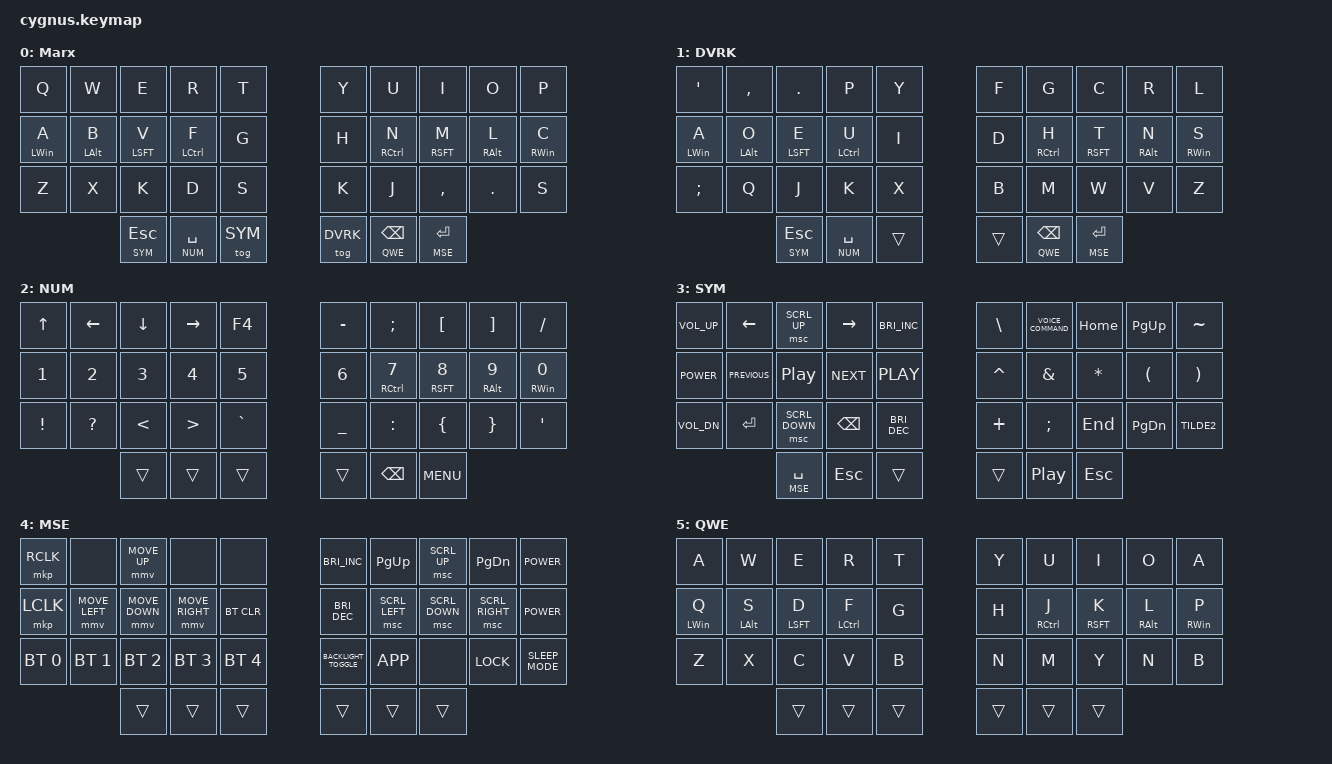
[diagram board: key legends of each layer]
/*
 * Copyright (c) 2020 The ZMK Contributors
 *
 * SPDX-License-Identifier: MIT
 */

#include <behaviors.dtsi>
#include <dt-bindings/zmk/bt.h>
#include <dt-bindings/zmk/keys.h>


#define DEFAULT 0
#define DVRK    1
#define NUM     2
#define SYM     3
#define MSE     4
#define QWE     5

&mt {
    tapping-term-ms = <200>;
    flavor = "tap-preferred";
};

&sk {
    release-after-ms = <2000>;
    quick-release;
};



/ {

	combos {
        compatible = "zmk,combos";

                combo_zoomin {
            timeout-ms = <50>;
            key-positions = <3 4>;
            bindings = <&kp TAB>;
        };
 
        combo_pgdn {
            timeout-ms = <50>;
            key-positions = <21 22>;
            bindings = <&kp PG_DN>;
        };

        combo_pgup {
            timeout-ms = <50>;
            key-positions = <20 21>;
            bindings = <&kp PG_UP>;
        };
    };
    behaviors {
        hm: homerow_mods {
            compatible = "zmk,behavior-hold-tap";
            label = "HOMEROW_MODS";
            #binding-cells = <2>;
            tapping-term-ms = <200>;
            quick_tap_ms = <0>;
            flavor = "tap-preferred";
            bindings =
                <&kp>,
                <&kp>;

            quick-tap-ms = <180>;
            global-quick-tap;
        };
        ltq: ltq {
            compatible = "zmk,behavior-hold-tap";
            label = "LTQ";
            #binding-cells = <2>;
            tapping-term-ms = <200>;
            quick_tap_ms = <0>;
            flavor = "hold-preferred";
            bindings =
                <&mo>,
                <&kp>;

            quick-tap-ms = <180>;
            global-quick-tap;
        };
    };

    keymap {
        compatible = "zmk,keymap";

default_layer {
            label = "Marx";
			bindings = <
        &kp Q     &kp W      &kp E      &kp R      &kp T         &kp Y    &kp U      &kp I      &kp O      &kp P
        &mt LWIN A &mt LALT B &mt LSFT V &mt LCTL F &kp G         &kp H    &mt RCTL N &mt RSFT M &mt RALT L &mt RWIN C 
        &kp Z     &kp X      &kp K      &kp D  &kp S         &kp K    &kp J  &kp COMMA &kp DOT &kp S
                &lt SYM ESC  &lt NUM SPACE       &tog SYM                   &tog DVRK  &lt QWE BSPC  &lt MSE RET
            >;
        };

		    	dvorak_layer {
            label = "DVRK";
			bindings = <
        &kp SINGLE_QUOTE     &kp COMMA   &kp DOT   &kp P   &kp Y         &kp F    &kp G     &kp C      &kp R      &kp L
        &mt LWIN A &mt LALT O &mt LSFT E &mt LCTL U &kp I         &kp D    &mt RCTL H &mt RSFT T &mt RALT N &mt RWIN S 
 	&kp SEMI    &kp Q      &kp J      &kp K  &kp X         &kp B    &kp M  &kp W &kp V &kp Z
           &lt SYM ESC  &lt NUM SPACE          &trans          &trans   &lt QWE BSPC  &lt MSE RET
            >;
        };

        number_layer {
            label = "NUM";
            bindings = <
                &kp UP  &kp LEFT  &kp DOWN   &kp RIGHT   &kp F4      &kp MINUS    &kp SEMI  &kp LEFT_BRACKET  &kp RIGHT_BRACKET  &kp SLASH
                &kp N1  &kp N2  &kp N3  &kp N4  &kp N5                &kp N6   &mt RCTL N7  &mt RSFT N8  &mt RALT N9  &mt RWIN N0
                &kp EXCLAMATION  &kp QUESTION  &kp LESS_THAN   &kp GREATER_THAN   &kp GRAVE     &kp UNDERSCORE   &kp COLON  &kp LEFT_BRACE  &kp RIGHT_BRACE  &kp SINGLE_QUOTE
        &trans          &trans          &trans          &trans  &kp BSPC   &kp K_MENU
            >;
        };	

        symbol_layer {
            label = "SYM";
            bindings = <
                 &kp C_VOL_UP    &kp LEFT       &msc SCRL_UP         &kp RIGHT   &kp C_BRIGHTNESS_INC      &kp BACKSLASH  &kp C_VOICE_COMMAND  &kp HOME  &kp PAGE_UP  &kp TILDE
                &kp C_POWER   &kp C_PREVIOUS &kp C_PLAY_PAUSE  &kp C_NEXT  &kp C_PLAY                 &kp CARET &kp AMPS &kp STAR &kp LPAR &kp RPAR
                &kp C_VOL_DN   &kp RET         &msc SCRL_DOWN          &kp BSPC    &kp C_BRIGHTNESS_DEC       &kp PLUS  &kp SEMICOLON   &kp END  &kp PAGE_DOWN  &kp TILDE2  
        &lt MSE SPACE  &kp ESC   &trans          &trans  &kp C_PLAY_PAUSE  &kp ESC
            >;
        };
        mouse_layer {
            label = "MSE";
            bindings = <
                 &mkp RCLK  &none   &mmv MOVE_UP   &none   &none          &kp C_BRIGHTNESS_INC  &kp PAGE_UP   &msc SCRL_UP  &kp PAGE_DOWN    &kp C_POWER
                &mkp LCLK  &mmv MOVE_LEFT  &mmv MOVE_DOWN    &mmv MOVE_RIGHT   &bt BT_CLR                 &kp C_BRIGHTNESS_DEC  &msc SCRL_LEFT  &msc SCRL_DOWN   &msc SCRL_RIGHT  &kp K_POWER
                &bt BT_SEL 0 &bt BT_SEL 1 &bt BT_SEL 2 &bt BT_SEL 3 &bt BT_SEL 4      &kp C_BACKLIGHT_TOGGLE  &kp K_APP      &none       &kp K_LOCK       &kp C_SLEEP_MODE
        &trans          &trans          &trans          &trans  &trans  &trans
            >;
        };

	cangjie_layer {
            label = "QWE";
			bindings = <
            		&kp A     &kp W      &kp E      &kp R      &kp T         &kp Y    &kp U      &kp I      &kp O      &kp A
             		&mt LWIN Q &mt LALT S &mt LSFT D &mt LCTL F &kp G         &kp H    &mt RCTL J &mt RSFT K &mt RALT L &mt RWIN P 
                &kp Z     &kp X      &kp C      &kp V  &kp B         &kp N    &kp M  &kp Y &kp N &kp B
        &trans          &trans          &trans          &trans  &trans  &trans
            >;
        };

    };
};
